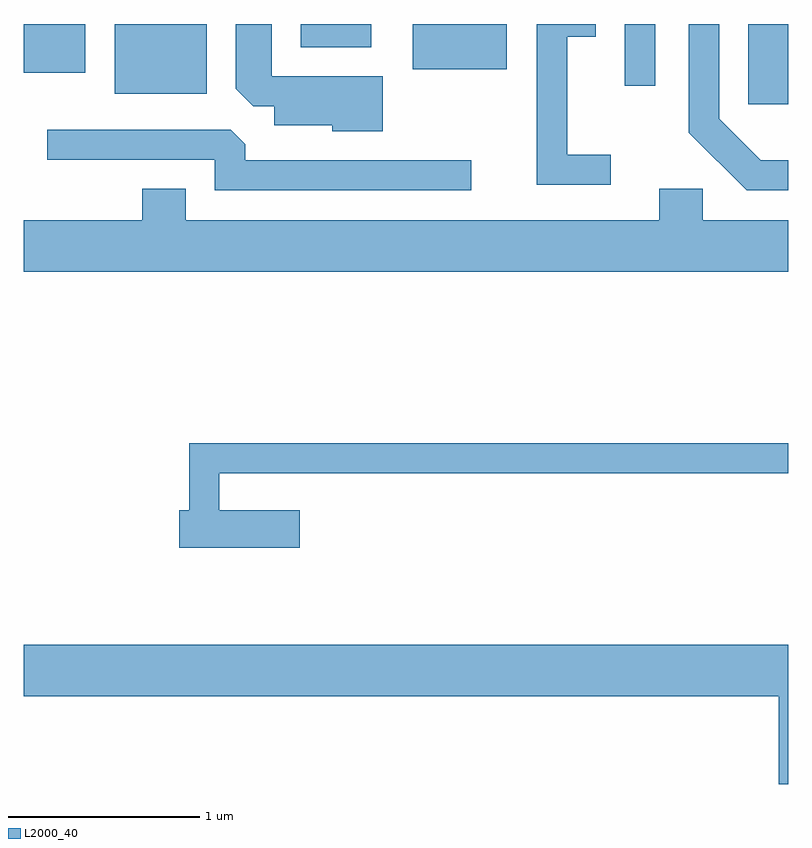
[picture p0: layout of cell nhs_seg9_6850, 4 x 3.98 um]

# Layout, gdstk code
import gdstk
lib = gdstk.Library(unit=1e-6, precision=1e-09)
def R(c, l, rs):  # rectangles x0, y0, x1, y1
    for r in rs: c.add(gdstk.rectangle(r[:2], r[2:], *l))
def P(c, l, *ps):  # polygons
    for p in ps: c.add(gdstk.Polygon(p, *l))
L2000_40 = (2000, 40)

nhs_seg9_6850 = lib.new_cell('nhs_seg9_6850')
R(nhs_seg9_6850, L2000_40, [(391.401,2006.011,391.611,2006.432), (388.086,2006.066,388.569,2006.432), (390.756,2006.108,390.914,2006.432), (387.611,2006.176,387.934,2006.432), (389.646,2006.196,390.139,2006.432), (389.061,2006.311,389.429,2006.432)])
P(nhs_seg9_6850, L2000_40, [(389.489,2006.159),(388.909,2006.159),(388.909,2006.432),(388.721,2006.432),(388.721,2006.092),(388.812,2006.001),(388.921,2006.001),(388.921,2005.901),(389.226,2005.901),(389.226,2005.871),(389.489,2005.871)],
  [(390.683,2005.749),(390.454,2005.749),(390.454,2006.366),(390.604,2006.366),(390.604,2006.432),(390.296,2006.432),(390.296,2005.591),(390.683,2005.591)],
  [(391.611,2005.719),(391.467,2005.719),(391.249,2005.937),(391.249,2006.432),(391.091,2006.432),(391.091,2005.864),(391.394,2005.561),(391.611,2005.561)],
  [(389.953,2005.719),(388.769,2005.719),(388.769,2005.804),(388.694,2005.879),(387.733,2005.879),(387.733,2005.721),(388.611,2005.721),(388.611,2005.561),(389.953,2005.561)],
  [(391.611,2005.404),(391.164,2005.404),(391.164,2005.569),(390.936,2005.569),(390.936,2005.404),(388.459,2005.404),(388.459,2005.569),(388.231,2005.569),(388.231,2005.404),(387.611,2005.404),(387.611,2005.136),(391.611,2005.136)],
  [(389.054,2003.889),(388.634,2003.889),(388.634,2004.081),(391.611,2004.081),(391.611,2004.239),(388.476,2004.239),(388.476,2003.889),(388.426,2003.889),(388.426,2003.691),(389.054,2003.691)],
  [(391.611,2003.184),(387.611,2003.184),(387.611,2002.916),(391.561,2002.916),(391.561,2002.456),(391.611,2002.456)])

lib.write_gds('nhs_seg9_6850.gds')
